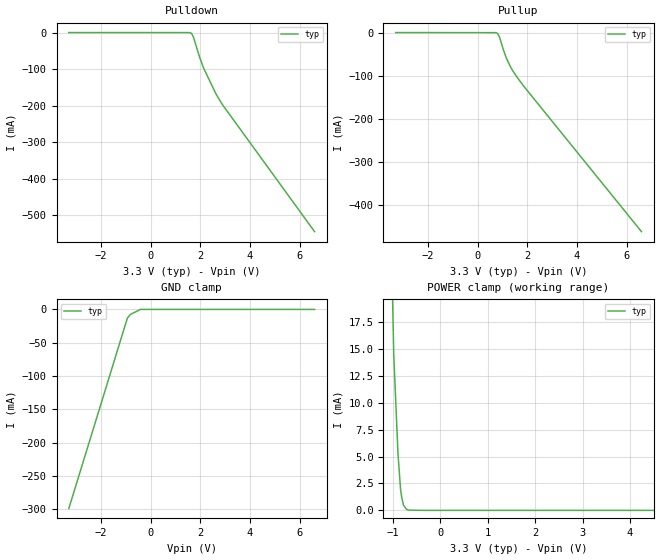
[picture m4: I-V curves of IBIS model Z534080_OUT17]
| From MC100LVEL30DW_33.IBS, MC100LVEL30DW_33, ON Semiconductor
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| (C) COPYRIGHT 1993-2000
| MENTOR GRAPHICS CORPORATION
| ICX STANDARD LIBRARY, ICX PROJECT MODELING,
| ICX CUSTOM MODELING, ICX VENDOR MODEL
| ALL RIGHTS RESERVED.
| THE FOLLOWING ARE TRADEMARKS OR SERVICE MARKS OF
| MENTOR GRAPHICS CORPORATION:ICX (R), ICX STANDARD
| LIBRARY(R), ICX PROJECT MODELING(R), ICX CUSTOM
| MODELING(R), qualityIBIS(TM), MODELVIEWER(TM),
| AND MODELEDITOR(TM)
| ALL COPIES OF SOFTWARE, INCLUDING BUT NOT LIMITED TO
| ANY MODIFICATIONS, ENHANCEMENTS OR DERIVATIVE WORKS,
| MUST CONTAIN ALL MENTOR GRAPHICS CORPORATION'S
| NOTICES AND LEGENDS, INCLUDING THOSE EMBEDDED IN
| SOFTWARE AND THOSE AFFIXED TO SOFTWARE MEDIUM
| AND CONTAINER, AS RECEIVED FROM MENTOR GRAPHICS
| CORPORATION.
| Model Application Version 1.89 2/18/99.
[Model] Z534080_OUT17
Model_type Output_ECL
Vref=1.300V
Rref=50.00ohms
Cref=0.000F
Vmeas=2.207V
C_comp 2.000pF NA NA
| variable typ   min   max
[Voltage Range] 3.300V NA NA
[POWER Clamp Reference] 3.300V NA NA
[Pullup Reference] 3.300V NA NA
[Pulldown Reference] 3.300V NA NA
[GND Clamp Reference] 0.000V NA NA
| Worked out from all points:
|   POWER clamp passes 1 mA (typ) near -0.80 V on its own axis
[GND Clamp]
-3.3V     -299mA     NA         NA
-942.1mV  -13.14mA   NA         NA
-822.3mV  -7.558mA   NA         NA
-411.2mV  0A         NA         NA
6.6V      0A         NA         NA
[Pulldown]
-3.3V     125.6uA    NA         NA
1.43V     -2.685uA   NA         NA
1.552V    -73.73uA   NA         NA
1.591V    -520.8uA   NA         NA
1.611V    -1.009mA   NA         NA
1.649V    -2.937mA   NA         NA
1.721V    -12.4mA    NA         NA
1.962V    -66.14mA   NA         NA
2.129V    -97.09mA   NA         NA
2.636V    -169mA     NA         NA
2.887V    -197.1mA   NA         NA
6.6V      -544.7mA   NA         NA
[Pullup]
-3.3V     269.8uA    NA         NA
710mV     -26.74uA   NA         NA
805mV     -1.869mA   NA         NA
880mV     -9.715mA   NA         NA
1.027V    -37.93mA   NA         NA
1.148V    -57.66mA   NA         NA
1.396V    -86.66mA   NA         NA
1.599V    -104.3mA   NA         NA
1.86V     -124.5mA   NA         NA
6.6V      -462.1mA   NA         NA
[POWER Clamp]
-3.3V     945.4mA    NA         NA
-1.178V   77.08mA    NA         NA
-1.017V   21.85mA    NA         NA
-982mV    14.5mA     NA         NA
-893mV    5.297mA    NA         NA
-838mV    1.928mA    NA         NA
-814mV    1.22mA     NA         NA
-776mV    476.3uA    NA         NA
-717mV    119.2uA    NA         NA
-678mV    22.31uA    NA         NA
-339mV    0A         NA         NA
6.6V      0A         NA         NA
[Ramp]
| variable typ min max
dV/dt_r 486.0m/481.2p NA NA
dV/dt_f 486.0m/597.1p NA NA
R_load = 50.0Ohms
